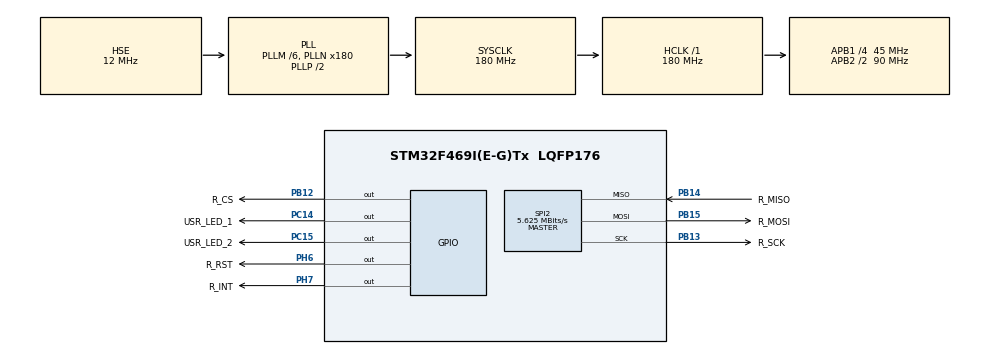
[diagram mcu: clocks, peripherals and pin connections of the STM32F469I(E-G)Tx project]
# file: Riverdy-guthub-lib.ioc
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Mcu.Family=STM32F4
RCC.PLLSourceVirtual=RCC_PLLSOURCE_HSE
RCC.CortexFreq_Value=180000000
PC15/OSC32_OUT.GPIO_Label=USR_LED_2
SPI2.VirtualType=VM_MASTER
PB14.GPIO_Label=R_MISO
PH6.GPIO_Label=R_RST
RCC.APB1CLKDivider=RCC_HCLK_DIV4
PB13.GPIO_Label=R_SCK
PB13.Signal=SPI2_SCK
PB15.Signal=SPI2_MOSI
RCC.SYSCLKSource=RCC_SYSCLKSOURCE_PLLCLK
ProjectManager.StackSize=0x400
ProjectManager.TargetToolchain=STM32CubeIDE
PH0/OSC_IN.Mode=HSE-External-Oscillator
RCC.HCLKFreq_Value=180000000
RCC.APB2TimFreq_Value=180000000
PH1/OSC_OUT.Signal=RCC_OSC_OUT
RCC.USBFreq_Value=90000000
RCC.AHBFreq_Value=180000000
SPI2.BaudRatePrescaler=SPI_BAUDRATEPRESCALER_8
PB14.Signal=SPI2_MISO
PA5.Signal=SPI1_SCK
RCC.HSE_VALUE=12000000
board=custom
RCC.VCOOutputFreq_Value=360000000
PB15.Mode=Full_Duplex_Master
PB12.GPIO_Label=R_CS
PH0/OSC_IN.Signal=RCC_OSC_IN
RCC.APB2Freq_Value=90000000
PB15.GPIO_Label=R_MOSI
PH7.GPIO_Label=R_INT
PB14.Mode=Full_Duplex_Master
SPI2.CalculateBaudRate=5.625 MBits/s
PH1/OSC_OUT.Mode=HSE-External-Oscillator
Mcu.Name=STM32F469I(E-G)Tx
RCC.SYSCLKFreq_VALUE=180000000
Mcu.Package=LQFP176
PA6.Signal=SPI1_MISO
SPI2.Mode=SPI_MODE_MASTER
PC14/OSC32_IN.Signal=GPIO_Output
ProjectManager.HeapSize=0x200
PH6.Signal=GPIO_Output
NVIC.PriorityGroup=NVIC_PRIORITYGROUP_4
PH7.Signal=GPIO_Output
RCC.APB2CLKDivider=RCC_HCLK_DIV2
RCC.PLLM=6
RCC.PLLN=180
RCC.APB1TimFreq_Value=90000000
PC14/OSC32_IN.GPIO_Label=USR_LED_1
PC15/OSC32_OUT.Signal=GPIO_Output
SPI2.Direction=SPI_DIRECTION_2LINES
PB13.Mode=Full_Duplex_Master
RCC.APB1Freq_Value=45000000
PB12.Signal=GPIO_Output
PA7.Signal=SPI1_MOSI

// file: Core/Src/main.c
/* USER CODE BEGIN Header */
/**
  ******************************************************************************
  * @file           : main.c
  * @brief          : Main program body
  ******************************************************************************
  * @attention
  *
  * <h2><center>&copy; Copyright (c) 2024 STMicroelectronics.
  * All rights reserved.</center></h2>
  *
  * This software component is licensed by ST under BSD 3-Clause license,
  * the "License"; You may not use this file except in compliance with the
  * License. You may obtain a copy of the License at:
  *                        opensource.org/licenses/BSD-3-Clause
  *
  ******************************************************************************
  */
/* USER CODE END Header */
#include "main.h"
#include "spi.h"
#include "gpio.h"

/* USER CODE BEGIN Includes */
#include "platform.h"
#include "App_Common.h"

/* USER CODE END Includes */

/* USER CODE BEGIN PV */
/* global used for buffer optimization */
Gpu_Hal_Context_t host, *phost;
/* USER CODE END PV */

void SystemClock_Config(void);
/* USER CODE BEGIN PFP */
static void SAMAPP_GPU_Ball_Stencil();
/* USER CODE END PFP */

int main(void)
{

  /* MCU Configuration--------------------------------------------------------*/

  /* Reset of all peripherals, Initializes the Flash interface and the Systick. */
  HAL_Init();

  /* Configure the system clock */
  SystemClock_Config();

  /* Initialize all configured peripherals */
  MX_GPIO_Init();
  MX_SPI2_Init();
  /* USER CODE BEGIN 2 */
	phost = &host;
	/* Init HW Hal */
	App_Common_Init(&host);

	/* Screen Calibration*/
//	App_Calibrate_Screen(&host);
	/* Show Bridgetek logo */
	App_Show_Logo(&host);

	/* Main application - endless loop */
	SAMAPP_GPU_Ball_Stencil();

  /* USER CODE END 2 */

  /* Infinite loop */
  /* USER CODE BEGIN WHILE */
  while (1)
  {
	  HAL_GPIO_TogglePin(USR_LED_1_GPIO_Port, USR_LED_1_Pin);
	  HAL_Delay(100);
    /* USER CODE END WHILE */

    /* USER CODE BEGIN 3 */
  }
  /* Close all the opened handles */
  Gpu_Hal_Close(phost);
  Gpu_Hal_DeInit();
  /* USER CODE END 3 */
}

void SystemClock_Config(void)
{
  RCC_OscInitTypeDef RCC_OscInitStruct = {0};
  RCC_ClkInitTypeDef RCC_ClkInitStruct = {0};

  /** Configure the main internal regulator output voltage
  */
  __HAL_RCC_PWR_CLK_ENABLE();
  __HAL_PWR_VOLTAGESCALING_CONFIG(PWR_REGULATOR_VOLTAGE_SCALE1);
  /** Initializes the RCC Oscillators according to the specified parameters
  * in the RCC_OscInitTypeDef structure.
  */
  RCC_OscInitStruct.OscillatorType = RCC_OSCILLATORTYPE_HSE;
  RCC_OscInitStruct.HSEState = RCC_HSE_ON;
  RCC_OscInitStruct.PLL.PLLState = RCC_PLL_ON;
  RCC_OscInitStruct.PLL.PLLSource = RCC_PLLSOURCE_HSE;
  RCC_OscInitStruct.PLL.PLLM = 6;
  RCC_OscInitStruct.PLL.PLLN = 180;
  RCC_OscInitStruct.PLL.PLLP = RCC_PLLP_DIV2;
  RCC_OscInitStruct.PLL.PLLQ = 4;
  RCC_OscInitStruct.PLL.PLLR = 2;
  if (HAL_RCC_OscConfig(&RCC_OscInitStruct) != HAL_OK)
  {
    Error_Handler();
  }
  /** Activate the Over-Drive mode
  */
  if (HAL_PWREx_EnableOverDrive() != HAL_OK)
  {
    Error_Handler();
  }
  /** Initializes the CPU, AHB and APB buses clocks
  */
  RCC_ClkInitStruct.ClockType = RCC_CLOCKTYPE_HCLK|RCC_CLOCKTYPE_SYSCLK
                              |RCC_CLOCKTYPE_PCLK1|RCC_CLOCKTYPE_PCLK2;
  RCC_ClkInitStruct.SYSCLKSource = RCC_SYSCLKSOURCE_PLLCLK;
  RCC_ClkInitStruct.AHBCLKDivider = RCC_SYSCLK_DIV1;
  RCC_ClkInitStruct.APB1CLKDivider = RCC_HCLK_DIV4;
  RCC_ClkInitStruct.APB2CLKDivider = RCC_HCLK_DIV2;

  if (HAL_RCC_ClockConfig(&RCC_ClkInitStruct, FLASH_LATENCY_5) != HAL_OK)
  {
    Error_Handler();
  }
}

/* USER CODE BEGIN 4 */
static void
SAMAPP_GPU_Ball_Stencil()
{
  uint8_t xflag, yflag;
  int16_t xball, yball, rball, pixel_precision, gridsize;
  int32_t displ, dispr, dispa, dispb;

  /* grid margins */
  displ = 10;
  dispr = (DispWidth - 10);
  dispa = 50;
  dispb = (DispHeight - 10);

  /* grid size */
  gridsize = 20;

  /* ball dimensions */
  xball = (DispWidth/2);
  yball = (DispHeight/2);
  rball = (DispWidth/8);
  xflag = 1;
  yflag = 1;

  dispr -= ((dispr - displ)%gridsize);
  dispb -= ((dispb - dispa)%gridsize);

  /* endless loop */
  while(1)
    {
      /* ball movement */
      if(((xball + rball + 2) >= dispr) || ((xball - rball - 2) <= displ))
        xflag ^= 1;

      if(((yball + rball + 8) >= dispb) || ((yball - rball - 8) <= dispa))
        yflag ^= 1;

      if(xflag)
        xball += 2;
      else
        xball -= 2;

      if(yflag)
        yball += 8;
      else
        yball -= 8;

      /* set the precision of VERTEX2F coordinates */
#if defined (IPS_70) || (IPS_101)
      /* VERTEX2F range: -2048 to 2047 */
      App_WrDl_Buffer(phost, VERTEX_FORMAT(3));
      pixel_precision = 8;
#else
      /* use default VERTEX_FORMAT(3) with VERTEX2F range: -1024 to 1023 */
      pixel_precision = 16;
#endif

      /* init and set background */
      App_WrDl_Buffer(phost, CLEAR_COLOR_RGB(255, 255, 255));
      App_WrDl_Buffer(phost, CLEAR(1, 1, 1));
      App_WrDl_Buffer(phost, STENCIL_OP(INCR,INCR));
      App_WrDl_Buffer(phost, COLOR_RGB(0, 0, 0));

      /* draw grid */
      App_WrDl_Buffer(phost, LINE_WIDTH(pixel_precision));
      App_WrDl_Buffer(phost, BEGIN(LINES));

      for(uint16_t i=0; i<=((dispr - displ)/gridsize); i++)
        {
          App_WrDl_Buffer(phost, VERTEX2F((displ + i*gridsize)*pixel_precision,dispa*pixel_precision));
          App_WrDl_Buffer(phost, VERTEX2F((displ + i*gridsize)*pixel_precision,dispb*pixel_precision));
        }

      for(uint16_t i=0; i<=((dispb - dispa)/gridsize); i++)
        {
          App_WrDl_Buffer(phost, VERTEX2F(displ*pixel_precision,(dispa + i*gridsize)*pixel_precision));
          App_WrDl_Buffer(phost, VERTEX2F(dispr*pixel_precision,(dispa + i*gridsize)*pixel_precision));
        }
      App_WrDl_Buffer(phost, END());

      /* add simple text using built-in fonts */
      {
        Gpu_Fonts_t   font;
        uint8_t       font_size;
        uint32_t      font_table;
        uint32_t      text_hoffset, text_voffset;

#if defined (NTP_35) || (RTP_35) || (CTP_35) || (IPS_35) || (NTP_43) || (RTP_43) || (CTP_43) || (IPS_43)
        const uint8_t text[] = "Riverdi EVE Demo";
#elif defined (NTP_50) || (RTP_50) || (CTP_50) || (IPS_50) || (NTP_70) || (RTP_70) || (CTP_70) || (IPS_70)
        const uint8_t text[] = "Riverdi EVE Demo - https://www.riverdi.com";
#elif defined (IPS_101)
        const uint8_t text[] = "Riverdi EVE Demo - https://www.riverdi.com - contact@riverdi.com";
#endif

        text_hoffset = displ; /* set the same offset like for grid */
        text_voffset = 5;

        font_size = 30;
        font_table = Gpu_Hal_Rd32(phost, ROMFONT_TABLEADDRESS);

        Gpu_Hal_RdMem(phost, (font_table + (font_size-16) * GPU_FONT_TABLE_SIZE),
                      (uint8_t*)&font, GPU_FONT_TABLE_SIZE);

        App_WrDl_Buffer(phost, COLOR_RGB(0, 96, 169));
        App_WrDl_Buffer(phost, BEGIN(BITMAPS));
        App_WrDl_Buffer(phost, BITMAP_HANDLE((font_size%32)));

        for (uint8_t cnt = 0; cnt < sizeof(text)-1; cnt++)
          {
            App_WrDl_Buffer(phost, CELL(text[cnt]));
            App_WrDl_Buffer(phost, VERTEX2F(text_hoffset*pixel_precision, text_voffset*pixel_precision));
            text_hoffset += font.FontWidth[text[cnt]];
          }
        App_WrDl_Buffer(phost, END());
      }

      /* draw ball and shadow */
      App_WrDl_Buffer(phost, COLOR_MASK(1,1,1,1));
      App_WrDl_Buffer(phost, STENCIL_FUNC(ALWAYS,1,255));
      App_WrDl_Buffer(phost, STENCIL_OP(KEEP,KEEP));
      App_WrDl_Buffer(phost, COLOR_RGB(255, 255, 255));
      App_WrDl_Buffer(phost, POINT_SIZE(rball*16));
      App_WrDl_Buffer(phost, BEGIN(FTPOINTS));
      App_WrDl_Buffer(phost, VERTEX2F((xball - 1)*pixel_precision,(yball - 1)*pixel_precision));
      App_WrDl_Buffer(phost, COLOR_RGB(0, 0, 0));
      App_WrDl_Buffer(phost, COLOR_A(160));
      App_WrDl_Buffer(phost, VERTEX2F((xball+pixel_precision)*pixel_precision,(yball+8)*pixel_precision));
      App_WrDl_Buffer(phost, COLOR_A(255));
      App_WrDl_Buffer(phost, COLOR_RGB(254, 172, 0));
      App_WrDl_Buffer(phost, VERTEX2F(xball*pixel_precision,yball*pixel_precision));
      App_WrDl_Buffer(phost, COLOR_RGB(255, 255, 255));
      App_WrDl_Buffer(phost, STENCIL_FUNC(GEQUAL,1,1));
      App_WrDl_Buffer(phost, STENCIL_OP(KEEP,KEEP));
      App_WrDl_Buffer(phost, VERTEX2F(xball*pixel_precision,yball*pixel_precision));
      App_WrDl_Buffer(phost, END());

      /* display */
      App_WrDl_Buffer(phost, DISPLAY());

      /* download display list into DL RAM */
      App_Flush_DL_Buffer(phost);

      /* do a swap */
      Gpu_Hal_DLSwap(phost, DLSWAP_FRAME);

    } /* while */
}
/* USER CODE END 4 */

void Error_Handler(void)
{
  __disable_irq();
  while (1)
  {
  }
}

/************************ (C) COPYRIGHT STMicroelectronics *****END OF FILE****/
